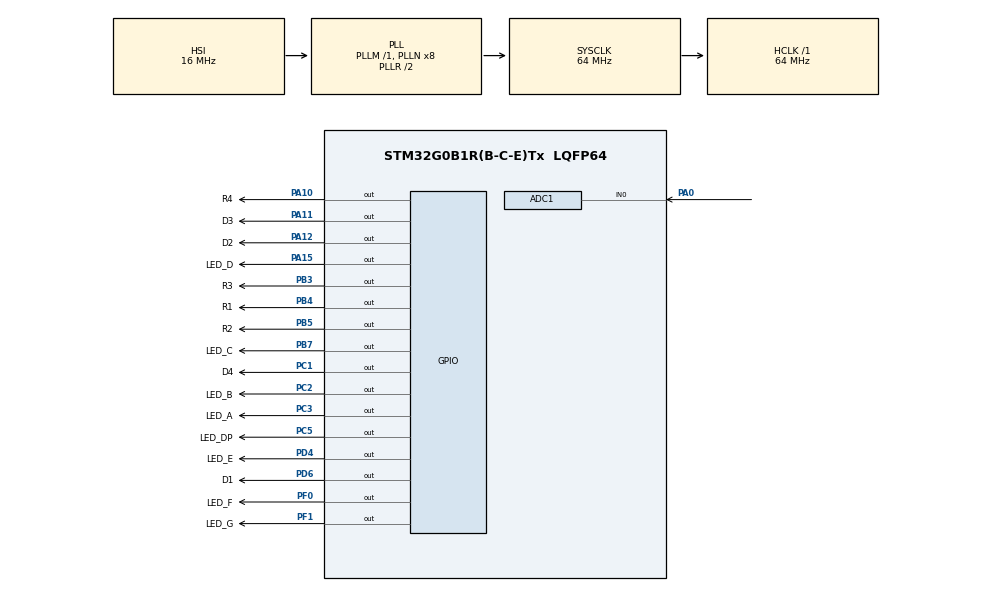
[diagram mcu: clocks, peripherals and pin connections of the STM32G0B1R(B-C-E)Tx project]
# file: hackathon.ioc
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ADC1.Channel-0\#ChannelRegularConversion=ADC_CHANNEL_0
ADC1.NbrOfConversionFlag=1
ADC1.Rank-0\#ChannelRegularConversion=1
ADC1.SamplingTime-0\#ChannelRegularConversion=ADC_SAMPLINGTIME_COMMON_1
ADC1.SamplingTimeCommon1=ADC_SAMPLETIME_39CYCLES_5
ADC1.SamplingTimeCommon2=ADC_SAMPLETIME_39CYCLES_5
ADC1.SelectedChannel=ADC_CHANNEL_0
ADC1.master=1
Mcu.Family=STM32G0
Mcu.Name=STM32G0B1R(B-C-E)Tx
Mcu.Package=LQFP64
PA0.Mode=IN0
PA0.Signal=ADC1_IN0
PA10.GPIO_Label=R4
PA10.Signal=GPIO_Output
PA11\ [PA9].GPIO_Label=D3
PA11\ [PA9].Signal=GPIO_Output
PA12\ [PA10].GPIO_Label=D2
PA12\ [PA10].Signal=GPIO_Output
PA13.Mode=Serial_Wire
PA13.Signal=SYS_SWDIO
PA14-BOOT0.Mode=Serial_Wire
PA14-BOOT0.Signal=SYS_SWCLK
PA15.GPIO_Label=LED_D
PA15.Signal=GPIO_Output
PB3.GPIO_Label=R3
PB3.Signal=GPIO_Output
PB4.GPIO_Label=R1
PB4.Signal=GPIO_Output
PB5.GPIO_Label=R2
PB5.Signal=GPIO_Output
PB7.GPIO_Label=LED_C
PB7.Signal=GPIO_Output
PC1.GPIO_Label=D4
PC1.Signal=GPIO_Output
PC2.GPIO_Label=LED_B
PC2.Signal=GPIO_Output
PC3.GPIO_Label=LED_A
PC3.Signal=GPIO_Output
PC5.GPIO_Label=LED_DP
PC5.Signal=GPIO_Output
PD4.GPIO_Label=LED_E
PD4.Signal=GPIO_Output
PD6.GPIO_Label=D1
PD6.Signal=GPIO_Output
PF0-OSC_IN\ (PF0).GPIO_Label=LED_F
PF0-OSC_IN\ (PF0).Signal=GPIO_Output
PF1-OSC_OUT\ (PF1).GPIO_Label=LED_G
PF1-OSC_OUT\ (PF1).Signal=GPIO_Output
ProjectManager.HeapSize=0x200
ProjectManager.StackSize=0x400
ProjectManager.TargetToolchain=STM32CubeIDE
RCC.ADCFreq_Value=64000000
RCC.AHBFreq_Value=64000000
RCC.CortexFreq_Value=64000000
RCC.EXTERNAL_CLOCK_VALUE=48000
RCC.HCLKFreq_Value=64000000
RCC.HSE_VALUE=8000000
RCC.HSI48_VALUE=48000000
RCC.HSI_VALUE=16000000
RCC.LSE_VALUE=32768
RCC.SYSCLKFreq_VALUE=64000000
RCC.SYSCLKSource=RCC_SYSCLKSOURCE_PLLCLK
RCC.USBFreq_Value=48000000
RCC.VCOOutputFreq_Value=128000000
VP_SYS_VS_DBSignals.Mode=DisableDeadBatterySignals
board=custom

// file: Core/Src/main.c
/* USER CODE BEGIN Header */
/**
  ******************************************************************************
  * @file           : main.c
  * @brief          : Main program body
  ******************************************************************************
  * @attention
  *
  * Copyright (c) 2022 STMicroelectronics.
  * All rights reserved.
  *
  * This software is licensed under terms that can be found in the LICENSE file
  * in the root directory of this software component.
  * If no LICENSE file comes with this software, it is provided AS-IS.
  *
  ******************************************************************************
  */
/* USER CODE END Header */
#include "main.h"

/* USER CODE BEGIN Includes */
#include <stdint.h>
#include <math.h>
/* USER CODE END Includes */

ADC_HandleTypeDef hadc1;

/* USER CODE BEGIN PV */
uint8_t unit=4,dec=3,cent=2,mil=1,display=1;
uint32_t pot=0;
/* USER CODE END PV */

void SystemClock_Config(void);
static void MX_GPIO_Init(void);
static void MX_ADC1_Init(void);

/* USER CODE BEGIN 0 */
void displayNum(uint16_t numero, uint8_t display){

		switch(display){
		case 1:
			HAL_GPIO_WritePin(D1_GPIO_Port, D1_Pin, GPIO_PIN_SET);
		    HAL_GPIO_WritePin(D2_GPIO_Port, D2_Pin, GPIO_PIN_RESET);
		    HAL_GPIO_WritePin(D3_GPIO_Port, D3_Pin, GPIO_PIN_RESET);
			HAL_GPIO_WritePin(D4_GPIO_Port, D4_Pin, GPIO_PIN_RESET);
			HAL_GPIO_WritePin(LED_DP_GPIO_Port, LED_DP_Pin, GPIO_PIN_RESET);
			break;
		case 2:
			HAL_GPIO_WritePin(D1_GPIO_Port, D1_Pin, GPIO_PIN_RESET);
		    HAL_GPIO_WritePin(D2_GPIO_Port, D2_Pin, GPIO_PIN_SET);
		    HAL_GPIO_WritePin(D3_GPIO_Port, D3_Pin, GPIO_PIN_RESET);
			HAL_GPIO_WritePin(D4_GPIO_Port, D4_Pin, GPIO_PIN_RESET);
			HAL_GPIO_WritePin(LED_DP_GPIO_Port, LED_DP_Pin, GPIO_PIN_RESET);

			break;
		case 3:
			HAL_GPIO_WritePin(D1_GPIO_Port, D1_Pin, GPIO_PIN_RESET);
		    HAL_GPIO_WritePin(D2_GPIO_Port, D2_Pin, GPIO_PIN_RESET);
		    HAL_GPIO_WritePin(D3_GPIO_Port, D3_Pin, GPIO_PIN_SET);
			HAL_GPIO_WritePin(D4_GPIO_Port, D4_Pin, GPIO_PIN_RESET);
			HAL_GPIO_WritePin(LED_DP_GPIO_Port, LED_DP_Pin, GPIO_PIN_SET);
			break;
		case 4:
			HAL_GPIO_WritePin(D1_GPIO_Port, D1_Pin, GPIO_PIN_RESET);
		    HAL_GPIO_WritePin(D2_GPIO_Port, D2_Pin, GPIO_PIN_RESET);
		    HAL_GPIO_WritePin(D3_GPIO_Port, D3_Pin, GPIO_PIN_RESET);
			HAL_GPIO_WritePin(D4_GPIO_Port, D4_Pin, GPIO_PIN_SET);
			HAL_GPIO_WritePin(LED_DP_GPIO_Port, LED_DP_Pin, GPIO_PIN_RESET);

			break;
		default:
			HAL_GPIO_WritePin(D1_GPIO_Port, D1_Pin, GPIO_PIN_RESET);
			HAL_GPIO_WritePin(D2_GPIO_Port, D2_Pin, GPIO_PIN_RESET);
		    HAL_GPIO_WritePin(D3_GPIO_Port, D3_Pin, GPIO_PIN_RESET);
			HAL_GPIO_WritePin(D4_GPIO_Port, D4_Pin, GPIO_PIN_RESET);
			HAL_GPIO_WritePin(LED_DP_GPIO_Port, LED_DP_Pin, GPIO_PIN_RESET);

			break;
		}

		HAL_GPIO_WritePin(LED_A_GPIO_Port, LED_A_Pin, GPIO_PIN_RESET);
		HAL_GPIO_WritePin(LED_B_GPIO_Port, LED_B_Pin, GPIO_PIN_RESET);
		HAL_GPIO_WritePin(LED_C_GPIO_Port, LED_C_Pin, GPIO_PIN_RESET);
		HAL_GPIO_WritePin(LED_D_GPIO_Port, LED_D_Pin, GPIO_PIN_RESET);
		HAL_GPIO_WritePin(LED_E_GPIO_Port, LED_E_Pin, GPIO_PIN_RESET);
		HAL_GPIO_WritePin(LED_F_GPIO_Port, LED_F_Pin, GPIO_PIN_RESET);
		HAL_GPIO_WritePin(LED_G_GPIO_Port, LED_G_Pin, GPIO_PIN_RESET);

		switch(numero){
		case 0:
			HAL_GPIO_WritePin(LED_A_GPIO_Port, LED_A_Pin, GPIO_PIN_SET);
			HAL_GPIO_WritePin(LED_B_GPIO_Port, LED_B_Pin, GPIO_PIN_SET);
			HAL_GPIO_WritePin(LED_C_GPIO_Port, LED_C_Pin, GPIO_PIN_SET);
			HAL_GPIO_WritePin(LED_D_GPIO_Port, LED_D_Pin, GPIO_PIN_SET);
			HAL_GPIO_WritePin(LED_E_GPIO_Port, LED_E_Pin, GPIO_PIN_SET);
			HAL_GPIO_WritePin(LED_F_GPIO_Port, LED_F_Pin, GPIO_PIN_SET);
			break;
		case 1:
			HAL_GPIO_WritePin(LED_B_GPIO_Port, LED_B_Pin, GPIO_PIN_SET);
			HAL_GPIO_WritePin(LED_C_GPIO_Port, LED_C_Pin, GPIO_PIN_SET);
			break;
		case 2:
			HAL_GPIO_WritePin(LED_A_GPIO_Port, LED_A_Pin, GPIO_PIN_SET);
			HAL_GPIO_WritePin(LED_B_GPIO_Port, LED_B_Pin, GPIO_PIN_SET);
			HAL_GPIO_WritePin(LED_D_GPIO_Port, LED_D_Pin, GPIO_PIN_SET);
			HAL_GPIO_WritePin(LED_E_GPIO_Port, LED_E_Pin, GPIO_PIN_SET);
			HAL_GPIO_WritePin(LED_G_GPIO_Port, LED_G_Pin, GPIO_PIN_SET);
			break;
		case 3:
			HAL_GPIO_WritePin(LED_A_GPIO_Port, LED_A_Pin, GPIO_PIN_SET);
			HAL_GPIO_WritePin(LED_B_GPIO_Port, LED_B_Pin, GPIO_PIN_SET);
			HAL_GPIO_WritePin(LED_C_GPIO_Port, LED_C_Pin, GPIO_PIN_SET);
			HAL_GPIO_WritePin(LED_D_GPIO_Port, LED_D_Pin, GPIO_PIN_SET);
			HAL_GPIO_WritePin(LED_G_GPIO_Port, LED_G_Pin, GPIO_PIN_SET);
			break;
		case 4:
			HAL_GPIO_WritePin(LED_B_GPIO_Port, LED_B_Pin, GPIO_PIN_SET);
			HAL_GPIO_WritePin(LED_C_GPIO_Port, LED_C_Pin, GPIO_PIN_SET);
			HAL_GPIO_WritePin(LED_F_GPIO_Port, LED_F_Pin, GPIO_PIN_SET);
			HAL_GPIO_WritePin(LED_G_GPIO_Port, LED_G_Pin, GPIO_PIN_SET);
			break;
		case 5:
			HAL_GPIO_WritePin(LED_A_GPIO_Port, LED_A_Pin, GPIO_PIN_SET);
			HAL_GPIO_WritePin(LED_C_GPIO_Port, LED_C_Pin, GPIO_PIN_SET);
			HAL_GPIO_WritePin(LED_D_GPIO_Port, LED_D_Pin, GPIO_PIN_SET);
			HAL_GPIO_WritePin(LED_F_GPIO_Port, LED_F_Pin, GPIO_PIN_SET);
			HAL_GPIO_WritePin(LED_G_GPIO_Port, LED_G_Pin, GPIO_PIN_SET);
			break;
		case 6:
			HAL_GPIO_WritePin(LED_A_GPIO_Port, LED_A_Pin, GPIO_PIN_SET);
			HAL_GPIO_WritePin(LED_C_GPIO_Port, LED_C_Pin, GPIO_PIN_SET);
			HAL_GPIO_WritePin(LED_D_GPIO_Port, LED_D_Pin, GPIO_PIN_SET);
			HAL_GPIO_WritePin(LED_E_GPIO_Port, LED_E_Pin, GPIO_PIN_SET);
			HAL_GPIO_WritePin(LED_F_GPIO_Port, LED_F_Pin, GPIO_PIN_SET);
			HAL_GPIO_WritePin(LED_G_GPIO_Port, LED_G_Pin, GPIO_PIN_SET);
			break;
		case 7:
			HAL_GPIO_WritePin(LED_A_GPIO_Port, LED_A_Pin, GPIO_PIN_SET);
			HAL_GPIO_WritePin(LED_B_GPIO_Port, LED_B_Pin, GPIO_PIN_SET);
			HAL_GPIO_WritePin(LED_C_GPIO_Port, LED_C_Pin, GPIO_PIN_SET);
			break;
		case 8:
			HAL_GPIO_WritePin(LED_A_GPIO_Port, LED_A_Pin, GPIO_PIN_SET);
			HAL_GPIO_WritePin(LED_B_GPIO_Port, LED_B_Pin, GPIO_PIN_SET);
			HAL_GPIO_WritePin(LED_C_GPIO_Port, LED_C_Pin, GPIO_PIN_SET);
			HAL_GPIO_WritePin(LED_D_GPIO_Port, LED_D_Pin, GPIO_PIN_SET);
			HAL_GPIO_WritePin(LED_E_GPIO_Port, LED_E_Pin, GPIO_PIN_SET);
			HAL_GPIO_WritePin(LED_F_GPIO_Port, LED_F_Pin, GPIO_PIN_SET);
			HAL_GPIO_WritePin(LED_G_GPIO_Port, LED_G_Pin, GPIO_PIN_SET);
			break;

		case 9:
			HAL_GPIO_WritePin(LED_A_GPIO_Port, LED_A_Pin, GPIO_PIN_SET);
			HAL_GPIO_WritePin(LED_B_GPIO_Port, LED_B_Pin, GPIO_PIN_SET);
			HAL_GPIO_WritePin(LED_C_GPIO_Port, LED_C_Pin, GPIO_PIN_SET);
			HAL_GPIO_WritePin(LED_G_GPIO_Port, LED_G_Pin, GPIO_PIN_SET);
			HAL_GPIO_WritePin(LED_F_GPIO_Port, LED_F_Pin, GPIO_PIN_SET);
			break;
		case 10:
			HAL_GPIO_WritePin(LED_A_GPIO_Port, LED_A_Pin, GPIO_PIN_SET);
			HAL_GPIO_WritePin(LED_B_GPIO_Port, LED_B_Pin, GPIO_PIN_SET);
			HAL_GPIO_WritePin(LED_C_GPIO_Port, LED_C_Pin, GPIO_PIN_SET);
			HAL_GPIO_WritePin(LED_E_GPIO_Port, LED_E_Pin, GPIO_PIN_SET);
			HAL_GPIO_WritePin(LED_F_GPIO_Port, LED_F_Pin, GPIO_PIN_SET);
			HAL_GPIO_WritePin(LED_G_GPIO_Port, LED_G_Pin, GPIO_PIN_SET);
			break;
		case 11:
			HAL_GPIO_WritePin(LED_C_GPIO_Port, LED_C_Pin, GPIO_PIN_SET);
			HAL_GPIO_WritePin(LED_D_GPIO_Port, LED_D_Pin, GPIO_PIN_SET);
			HAL_GPIO_WritePin(LED_E_GPIO_Port, LED_E_Pin, GPIO_PIN_SET);
			HAL_GPIO_WritePin(LED_F_GPIO_Port, LED_F_Pin, GPIO_PIN_SET);
			HAL_GPIO_WritePin(LED_G_GPIO_Port, LED_G_Pin, GPIO_PIN_SET);
			break;
		case 12:
			HAL_GPIO_WritePin(LED_A_GPIO_Port, LED_A_Pin, GPIO_PIN_SET);
			HAL_GPIO_WritePin(LED_D_GPIO_Port, LED_D_Pin, GPIO_PIN_SET);
			HAL_GPIO_WritePin(LED_E_GPIO_Port, LED_E_Pin, GPIO_PIN_SET);
			HAL_GPIO_WritePin(LED_F_GPIO_Port, LED_F_Pin, GPIO_PIN_SET);
			break;
		case 13:
			HAL_GPIO_WritePin(LED_B_GPIO_Port, LED_B_Pin, GPIO_PIN_SET);
			HAL_GPIO_WritePin(LED_C_GPIO_Port, LED_C_Pin, GPIO_PIN_SET);
			HAL_GPIO_WritePin(LED_D_GPIO_Port, LED_D_Pin, GPIO_PIN_SET);
			HAL_GPIO_WritePin(LED_E_GPIO_Port, LED_E_Pin, GPIO_PIN_SET);
			HAL_GPIO_WritePin(LED_G_GPIO_Port, LED_G_Pin, GPIO_PIN_SET);
			break;
		case 14:
			HAL_GPIO_WritePin(LED_A_GPIO_Port, LED_A_Pin, GPIO_PIN_SET);
			HAL_GPIO_WritePin(LED_D_GPIO_Port, LED_D_Pin, GPIO_PIN_SET);
			HAL_GPIO_WritePin(LED_E_GPIO_Port, LED_E_Pin, GPIO_PIN_SET);
			HAL_GPIO_WritePin(LED_F_GPIO_Port, LED_F_Pin, GPIO_PIN_SET);
			HAL_GPIO_WritePin(LED_G_GPIO_Port, LED_G_Pin, GPIO_PIN_SET);
			break;
		case 15:
			HAL_GPIO_WritePin(LED_A_GPIO_Port, LED_A_Pin, GPIO_PIN_SET);
			HAL_GPIO_WritePin(LED_E_GPIO_Port, LED_E_Pin, GPIO_PIN_SET);
			HAL_GPIO_WritePin(LED_F_GPIO_Port, LED_F_Pin, GPIO_PIN_SET);
			HAL_GPIO_WritePin(LED_G_GPIO_Port, LED_G_Pin, GPIO_PIN_SET);
			break;
		default:
			break;
		}
		HAL_Delay(3);
	}

	void separarNum(uint16_t num){
		unit = num % 10;
		num = num / 10;

		dec = num % 10;
		num = num / 10;

		cent = num % 10;
		num = num / 10;

		mil = num % 10;
		num = num / 10;
	}
	float calcVr(uint16_t num){
		float tmp = (3.3 * (num/4095.0)) * 1000.0;
		return tmp;
	}
/* USER CODE END 0 */

int main(void)
{

  /* MCU Configuration--------------------------------------------------------*/

  /* Reset of all peripherals, Initializes the Flash interface and the Systick. */
  HAL_Init();

  /* Configure the system clock */
  SystemClock_Config();

  /* Initialize all configured peripherals */
  MX_GPIO_Init();
  MX_ADC1_Init();

  /* Infinite loop */
  /* USER CODE BEGIN WHILE */
  while (1)
  {
	  pot = 0;
	  for(int x = 0; x < 237; x++){
		  HAL_ADC_Start(&hadc1);
		  HAL_ADC_PollForConversion(&hadc1, 1000);
		  pot += HAL_ADC_GetValue(&hadc1);
	  }
	  pot /= 237;

	  separarNum((pot/4.095));

	  displayNum(unit,4);
	  displayNum(dec,3);
	  displayNum(cent,2);
	  displayNum(mil,1);

    /* USER CODE END WHILE */

  }
}

void SystemClock_Config(void)
{
  RCC_OscInitTypeDef RCC_OscInitStruct = {0};
  RCC_ClkInitTypeDef RCC_ClkInitStruct = {0};

  /** Configure the main internal regulator output voltage
  */
  HAL_PWREx_ControlVoltageScaling(PWR_REGULATOR_VOLTAGE_SCALE1);
  /** Initializes the RCC Oscillators according to the specified parameters
  * in the RCC_OscInitTypeDef structure.
  */
  RCC_OscInitStruct.OscillatorType = RCC_OSCILLATORTYPE_HSI;
  RCC_OscInitStruct.HSIState = RCC_HSI_ON;
  RCC_OscInitStruct.HSIDiv = RCC_HSI_DIV1;
  RCC_OscInitStruct.HSICalibrationValue = RCC_HSICALIBRATION_DEFAULT;
  RCC_OscInitStruct.PLL.PLLState = RCC_PLL_ON;
  RCC_OscInitStruct.PLL.PLLSource = RCC_PLLSOURCE_HSI;
  RCC_OscInitStruct.PLL.PLLM = RCC_PLLM_DIV1;
  RCC_OscInitStruct.PLL.PLLN = 8;
  RCC_OscInitStruct.PLL.PLLP = RCC_PLLP_DIV2;
  RCC_OscInitStruct.PLL.PLLQ = RCC_PLLQ_DIV2;
  RCC_OscInitStruct.PLL.PLLR = RCC_PLLR_DIV2;
  if (HAL_RCC_OscConfig(&RCC_OscInitStruct) != HAL_OK)
  {
    Error_Handler();
  }
  /** Initializes the CPU, AHB and APB buses clocks
  */
  RCC_ClkInitStruct.ClockType = RCC_CLOCKTYPE_HCLK|RCC_CLOCKTYPE_SYSCLK
                              |RCC_CLOCKTYPE_PCLK1;
  RCC_ClkInitStruct.SYSCLKSource = RCC_SYSCLKSOURCE_PLLCLK;
  RCC_ClkInitStruct.AHBCLKDivider = RCC_SYSCLK_DIV1;
  RCC_ClkInitStruct.APB1CLKDivider = RCC_HCLK_DIV1;

  if (HAL_RCC_ClockConfig(&RCC_ClkInitStruct, FLASH_LATENCY_2) != HAL_OK)
  {
    Error_Handler();
  }
}

static void MX_ADC1_Init(void)
{

  ADC_ChannelConfTypeDef sConfig = {0};

  /** Configure the global features of the ADC (Clock, Resolution, Data Alignment and number of conversion)
  */
  hadc1.Instance = ADC1;
  hadc1.Init.ClockPrescaler = ADC_CLOCK_SYNC_PCLK_DIV2;
  hadc1.Init.Resolution = ADC_RESOLUTION_12B;
  hadc1.Init.DataAlign = ADC_DATAALIGN_RIGHT;
  hadc1.Init.ScanConvMode = ADC_SCAN_DISABLE;
  hadc1.Init.EOCSelection = ADC_EOC_SINGLE_CONV;
  hadc1.Init.LowPowerAutoWait = DISABLE;
  hadc1.Init.LowPowerAutoPowerOff = DISABLE;
  hadc1.Init.ContinuousConvMode = DISABLE;
  hadc1.Init.NbrOfConversion = 1;
  hadc1.Init.DiscontinuousConvMode = DISABLE;
  hadc1.Init.ExternalTrigConv = ADC_SOFTWARE_START;
  hadc1.Init.ExternalTrigConvEdge = ADC_EXTERNALTRIGCONVEDGE_NONE;
  hadc1.Init.DMAContinuousRequests = DISABLE;
  hadc1.Init.Overrun = ADC_OVR_DATA_PRESERVED;
  hadc1.Init.SamplingTimeCommon1 = ADC_SAMPLETIME_39CYCLES_5;
  hadc1.Init.SamplingTimeCommon2 = ADC_SAMPLETIME_39CYCLES_5;
  hadc1.Init.OversamplingMode = DISABLE;
  hadc1.Init.TriggerFrequencyMode = ADC_TRIGGER_FREQ_HIGH;
  if (HAL_ADC_Init(&hadc1) != HAL_OK)
  {
    Error_Handler();
  }
  /** Configure Regular Channel
  */
  sConfig.Channel = ADC_CHANNEL_0;
  sConfig.Rank = ADC_REGULAR_RANK_1;
  sConfig.SamplingTime = ADC_SAMPLINGTIME_COMMON_1;
  if (HAL_ADC_ConfigChannel(&hadc1, &sConfig) != HAL_OK)
  {
    Error_Handler();
  }

}

static void MX_GPIO_Init(void)
{
  GPIO_InitTypeDef GPIO_InitStruct = {0};

  /* GPIO Ports Clock Enable */
  __HAL_RCC_GPIOF_CLK_ENABLE();
  __HAL_RCC_GPIOC_CLK_ENABLE();
  __HAL_RCC_GPIOA_CLK_ENABLE();
  __HAL_RCC_GPIOD_CLK_ENABLE();
  __HAL_RCC_GPIOB_CLK_ENABLE();

  /*Configure GPIO pin Output Level */
  HAL_GPIO_WritePin(GPIOF, LED_F_Pin|LED_G_Pin, GPIO_PIN_RESET);

  /*Configure GPIO pin Output Level */
  HAL_GPIO_WritePin(GPIOC, D4_Pin|LED_B_Pin|LED_A_Pin|LED_DP_Pin, GPIO_PIN_RESET);

  /*Configure GPIO pin Output Level */
  HAL_GPIO_WritePin(GPIOA, R4_Pin|D3_Pin|D2_Pin|LED_D_Pin, GPIO_PIN_RESET);

  /*Configure GPIO pin Output Level */
  HAL_GPIO_WritePin(GPIOD, LED_E_Pin|D1_Pin, GPIO_PIN_RESET);

  /*Configure GPIO pin Output Level */
  HAL_GPIO_WritePin(GPIOB, R3_Pin|R1_Pin|R2_Pin|LED_C_Pin, GPIO_PIN_RESET);

  /*Configure GPIO pins : LED_F_Pin LED_G_Pin */
  GPIO_InitStruct.Pin = LED_F_Pin|LED_G_Pin;
  GPIO_InitStruct.Mode = GPIO_MODE_OUTPUT_PP;
  GPIO_InitStruct.Pull = GPIO_NOPULL;
  GPIO_InitStruct.Speed = GPIO_SPEED_FREQ_LOW;
  HAL_GPIO_Init(GPIOF, &GPIO_InitStruct);

  /*Configure GPIO pins : D4_Pin LED_B_Pin LED_A_Pin LED_DP_Pin */
  GPIO_InitStruct.Pin = D4_Pin|LED_B_Pin|LED_A_Pin|LED_DP_Pin;
  GPIO_InitStruct.Mode = GPIO_MODE_OUTPUT_PP;
  GPIO_InitStruct.Pull = GPIO_NOPULL;
  GPIO_InitStruct.Speed = GPIO_SPEED_FREQ_LOW;
  HAL_GPIO_Init(GPIOC, &GPIO_InitStruct);

  /*Configure GPIO pins : R4_Pin D3_Pin D2_Pin LED_D_Pin */
  GPIO_InitStruct.Pin = R4_Pin|D3_Pin|D2_Pin|LED_D_Pin;
  GPIO_InitStruct.Mode = GPIO_MODE_OUTPUT_PP;
  GPIO_InitStruct.Pull = GPIO_NOPULL;
  GPIO_InitStruct.Speed = GPIO_SPEED_FREQ_LOW;
  HAL_GPIO_Init(GPIOA, &GPIO_InitStruct);

  /*Configure GPIO pins : LED_E_Pin D1_Pin */
  GPIO_InitStruct.Pin = LED_E_Pin|D1_Pin;
  GPIO_InitStruct.Mode = GPIO_MODE_OUTPUT_PP;
  GPIO_InitStruct.Pull = GPIO_NOPULL;
  GPIO_InitStruct.Speed = GPIO_SPEED_FREQ_LOW;
  HAL_GPIO_Init(GPIOD, &GPIO_InitStruct);

  /*Configure GPIO pins : R3_Pin R1_Pin R2_Pin LED_C_Pin */
  GPIO_InitStruct.Pin = R3_Pin|R1_Pin|R2_Pin|LED_C_Pin;
  GPIO_InitStruct.Mode = GPIO_MODE_OUTPUT_PP;
  GPIO_InitStruct.Pull = GPIO_NOPULL;
  GPIO_InitStruct.Speed = GPIO_SPEED_FREQ_LOW;
  HAL_GPIO_Init(GPIOB, &GPIO_InitStruct);

}

void Error_Handler(void)
{
  __disable_irq();
  while (1)
  {
  }
}
